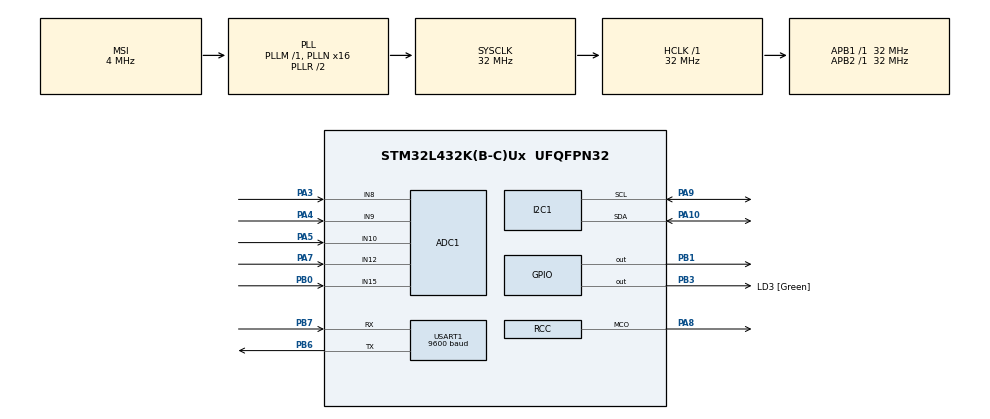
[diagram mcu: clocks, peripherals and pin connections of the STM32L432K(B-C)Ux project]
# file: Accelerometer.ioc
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ADC1.Channel-0\#ChannelRegularConversion=ADC_CHANNEL_12
ADC1.Channel-5\#ChannelRegularConversion=ADC_CHANNEL_15
ADC1.Channel-6\#ChannelRegularConversion=ADC_CHANNEL_10
ADC1.Channel-7\#ChannelRegularConversion=ADC_CHANNEL_9
ADC1.Channel-8\#ChannelRegularConversion=ADC_CHANNEL_8
ADC1.ClockPrescaler=ADC_CLOCK_ASYNC_DIV32
ADC1.ContinuousConvMode=DISABLE
ADC1.DMAContinuousRequests=ENABLE
ADC1.NbrOfConversion=5
ADC1.NbrOfConversionFlag=1
ADC1.OffsetNumber-0\#ChannelRegularConversion=ADC_OFFSET_NONE
ADC1.OffsetNumber-5\#ChannelRegularConversion=ADC_OFFSET_NONE
ADC1.OffsetNumber-6\#ChannelRegularConversion=ADC_OFFSET_NONE
ADC1.OffsetNumber-7\#ChannelRegularConversion=ADC_OFFSET_NONE
ADC1.OffsetNumber-8\#ChannelRegularConversion=ADC_OFFSET_NONE
ADC1.Rank-0\#ChannelRegularConversion=1
ADC1.Rank-5\#ChannelRegularConversion=2
ADC1.Rank-6\#ChannelRegularConversion=3
ADC1.Rank-7\#ChannelRegularConversion=4
ADC1.Rank-8\#ChannelRegularConversion=5
ADC1.SamplingTime-0\#ChannelRegularConversion=ADC_SAMPLETIME_2CYCLES_5
ADC1.SamplingTime-5\#ChannelRegularConversion=ADC_SAMPLETIME_2CYCLES_5
ADC1.SamplingTime-6\#ChannelRegularConversion=ADC_SAMPLETIME_2CYCLES_5
ADC1.SamplingTime-7\#ChannelRegularConversion=ADC_SAMPLETIME_2CYCLES_5
ADC1.SamplingTime-8\#ChannelRegularConversion=ADC_SAMPLETIME_2CYCLES_5
ADC1.master=1
Dma.ADC1.0.Direction=DMA_PERIPH_TO_MEMORY
Dma.ADC1.0.Instance=DMA1_Channel1
Dma.ADC1.0.MemDataAlignment=DMA_MDATAALIGN_WORD
Dma.ADC1.0.MemInc=DMA_MINC_ENABLE
Dma.ADC1.0.Mode=DMA_CIRCULAR
Dma.ADC1.0.PeriphDataAlignment=DMA_PDATAALIGN_HALFWORD
Dma.ADC1.0.PeriphInc=DMA_PINC_DISABLE
Dma.ADC1.0.Priority=DMA_PRIORITY_LOW
Dma.Request0=ADC1
I2C1.Timing=0x00707CBB
Mcu.Family=STM32L4
Mcu.Name=STM32L432K(B-C)Ux
Mcu.Package=UFQFPN32
NVIC.DMA1_Channel1_IRQn=true\:0\:0\:false\:false\:true\:false\:true\:true
NVIC.PriorityGroup=NVIC_PRIORITYGROUP_4
NVIC.USART1_IRQn=true\:0\:0\:false\:false\:true\:true\:true\:true
PA0.Signal=OPAMP1_VINP
PA10.Mode=I2C
PA10.Signal=I2C1_SDA
PA13\ (JTMS-SWDIO).GPIO_Label=SWDIO
PA13\ (JTMS-SWDIO).Signal=SYS_JTMS-SWDIO
PA14\ (JTCK-SWCLK).GPIO_Label=SWCLK
PA14\ (JTCK-SWCLK).Signal=SYS_JTCK-SWCLK
PA15\ (JTDI).GPIO_Label=VCP_RX
PA15\ (JTDI).Signal=USART2_RX
PA2.GPIO_Label=VCP_TX
PA2.Signal=USART2_TX
PA3.Signal=ADCx_IN8
PA4.Signal=ADCx_IN9
PA5.Signal=ADCx_IN10
PA7.Signal=ADCx_IN12
PA8.Mode=Clock-out
PA8.Signal=RCC_MCO
PA9.Mode=I2C
PA9.Signal=I2C1_SCL
PB0.Signal=ADCx_IN15
PB1.Signal=GPIO_Output
PB3\ (JTDO-TRACESWO).GPIO_Label=LD3 [Green]
PB3\ (JTDO-TRACESWO).Signal=GPIO_Output
PB6.Mode=Asynchronous
PB6.Signal=USART1_TX
PB7.Mode=Asynchronous
PB7.Signal=USART1_RX
PC14-OSC32_IN\ (PC14).Signal=RCC_OSC32_IN
PC15-OSC32_OUT\ (PC15).Signal=RCC_OSC32_OUT
ProjectManager.HeapSize=0x200
ProjectManager.StackSize=0x400
ProjectManager.TargetToolchain=STM32CubeIDE
RCC.ADCFreq_Value=32000000
RCC.AHBFreq_Value=32000000
RCC.APB1Freq_Value=32000000
RCC.APB1TimFreq_Value=32000000
RCC.APB2Freq_Value=32000000
RCC.APB2TimFreq_Value=32000000
RCC.CortexFreq_Value=32000000
RCC.HCLKFreq_Value=32000000
RCC.HSE_VALUE=8000000
RCC.HSI16_VALUE=16000000
RCC.HSI48_VALUE=48000000
RCC.HSI_VALUE=16000000
RCC.LSE_VALUE=32768
RCC.MSI_VALUE=4000000
RCC.PLLMUL=RCC_PLLMUL_4
RCC.PLLN=16
RCC.PLLSAI1N=16
RCC.SYSCLKFreq_VALUE=32000000
RCC.SYSCLKSource=RCC_SYSCLKSOURCE_PLLCLK
RCC.USBFreq_Value=32000000
RCC.VCOOutputFreq_Value=64000000
SH.ADCx_IN10.0=ADC1_IN10,IN10-Single-Ended
SH.ADCx_IN12.0=ADC1_IN12,IN12-Single-Ended
SH.ADCx_IN15.0=ADC1_IN15,IN15-Single-Ended
SH.ADCx_IN8.0=ADC1_IN8,IN8-Single-Ended
SH.ADCx_IN9.0=ADC1_IN9,IN9-Single-Ended
USART1.BaudRate=9600
USART1.VirtualMode-Asynchronous=VM_ASYNC
board=NUCLEO-L432KC

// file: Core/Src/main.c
/* USER CODE BEGIN Header */
/**
  ******************************************************************************
  * @file           : main.c
  * @brief          : Main program body
  ******************************************************************************
  * @attention
  *
  * Copyright (c) 2022 STMicroelectronics.
  * All rights reserved.
  *
  * This software is licensed under terms that can be found in the LICENSE file
  * in the root directory of this software component.
  * If no LICENSE file comes with this software, it is provided AS-IS.
  *
  ******************************************************************************
  */
/* USER CODE END Header */
#include "main.h"

/* USER CODE BEGIN Includes */
#include <string.h>
#include <stdio.h>
#include <math.h>
/* USER CODE END Includes */

/* USER CODE BEGIN PD */
	#define ACC_W_M 0x32
	#define ACC_R_M 0x33
/* USER CODE END PD */

ADC_HandleTypeDef hadc1;
DMA_HandleTypeDef hdma_adc1;

I2C_HandleTypeDef hi2c1;

UART_HandleTypeDef huart1;

void SystemClock_Config(void);
static void MX_GPIO_Init(void);
static void MX_DMA_Init(void);
static void MX_I2C1_Init(void);
static void MX_ADC1_Init(void);
static void MX_USART1_UART_Init(void);

int main(void)
{
  /* USER CODE BEGIN 1 */
	HAL_StatusTypeDef ret;
  /* USER CODE END 1 */

  /* MCU Configuration--------------------------------------------------------*/

  /* Reset of all peripherals, Initializes the Flash interface and the Systick. */
  HAL_Init();

  /* Configure the system clock */
  SystemClock_Config();

  /* Initialize all configured peripherals */
  MX_GPIO_Init();
  MX_DMA_Init();
  MX_I2C1_Init();
  MX_ADC1_Init();
  MX_USART1_UART_Init();
  /* USER CODE BEGIN 2 */
  uint8_t total = 0;
  int16_t Zvalarr[] = {16000, 16000, 16000, 16000};
  uint32_t arraycount = 0;
  /* USER CODE END 2 */

  /* Infinite loop */
  /* USER CODE BEGIN WHILE */
  while (1)
  {
	  //CTRL REG 1
	  	  uint8_t ctrl_buf_1[2] = {0x20, 0b10010111};//CTRL REG 1 addr and data
	  	  ret = HAL_I2C_Master_Transmit(&hi2c1, ACC_W_M, ctrl_buf_1 , 2, 1000);
	  	  if ( ret != HAL_OK ) {
	  			strcpy((char*)ctrl_buf_1, "Error Tx\r\n");
	  		 }

	  	  //Write default values to 2 - 6 to be safe
	  	  uint8_t ctrl_buf_2[2] = {0x21, 0b00000000};//CTRL REG 2 addr and data
	  	  ret = HAL_I2C_Master_Transmit(&hi2c1, ACC_W_M, ctrl_buf_2, 2, 1000);
	  	  if ( ret != HAL_OK ) {
	  			strcpy((char*)ctrl_buf_2, "Error Tx\r\n");
	  		 }

	  	  uint8_t ctrl_buf_3[2] = {0x22, 0b00000000};//CTRL REG 3 addr and data
	  	  ret = HAL_I2C_Master_Transmit(&hi2c1, ACC_W_M, ctrl_buf_3, 2, 1000);
	  	  if ( ret != HAL_OK ) {
	  			strcpy((char*)ctrl_buf_3, "Error Tx\r\n");
	  		 }

	  	  uint8_t ctrl_buf_4[2] = {0x23, 0b00000000};//CTRL REG 4 addr and data
	  	  ret = HAL_I2C_Master_Transmit(&hi2c1, ACC_W_M, ctrl_buf_4, 2, 1000);
	  	  if ( ret != HAL_OK ) {
	  			strcpy((char*)ctrl_buf_4, "Error Tx\r\n");
	  		 }

	  	  uint8_t ctrl_buf_5[2] = {0x24, 0b00000000};//CTRL REG 5 addr and data
	  	  ret = HAL_I2C_Master_Transmit(&hi2c1, ACC_W_M, ctrl_buf_5, 2, 1000);
	  	  if ( ret != HAL_OK ) {
	  			strcpy((char*)ctrl_buf_5, "Error Tx\r\n");
	  		 }

	  	  uint8_t ctrl_buf_6[2] = {0x25, 0b00000000};//CTRL REG 6 addr and data
	  	  ret = HAL_I2C_Master_Transmit(&hi2c1, ACC_W_M, ctrl_buf_6, 2, 1000);
	  	  if ( ret != HAL_OK ) {
	  			strcpy((char*)ctrl_buf_6, "Error Tx\r\n");
	  		 }

	  	  //Read Data
	  	  int16_t Xval;
	  	  int16_t Yval;
	  	  int16_t Zval;

	  	  //Check slide 12 and internal register address is prob the buf values
	  	  uint8_t buf[6] = {0xA8};// [Zhigh, Zlow, YHigh, Ylow, Xhigh, Xlow]
	  	  ret = HAL_I2C_Master_Transmit(&hi2c1, ACC_W_M, buf, 6, 1000);
	  	  if ( ret != HAL_OK ) {
	  			strcpy((char*)buf, "Error Tx\r\n");
	  		 }
	  	  else {
	  			 ret =  HAL_I2C_Master_Receive(&hi2c1, ACC_R_M, buf, 6, 1000); // [Zhigh, Zlow, YHigh, Ylow, Xhigh, Xlow]
	  		 }
	  	  Zval = ((buf[0]<<8) + buf[1]);
	  	  Zvalarr[arraycount%4] = Zval;
	  	  arraycount++;
	  	  int Zavg = 0;
	  	  for(int i = 0; i < 4; i++)
	  	  {
	  		  Zavg += Zvalarr[i];
	  	  }
	  	  Zavg = Zavg/4;

	  	  Yval = ((buf[2]<<8) + buf[3]);
	  	  Xval = ((buf[4]<<8) + buf[5]);

	  	  double ZGs = Zval/20224.00;
	  	  double YGs = Yval/20224.00;
	  	  double XGs = Xval/20224.00;

	  //Flex Sensor Convert
	  uint32_t ADC_VAL[5];
	  HAL_ADC_Start_DMA(&hadc1, ADC_VAL, 5);
//	uint8_t ch = ADC_VAL[0];
	//HAL_UART_Receive(&huart1, (uint8_t *)&ch, 1, 0xFFFF);
//	  HAL_ADC_Start(&hadc1);//start conversion
//	  HAL_ADC_PollForConversion(&hadc1, 0xFFFFFFFF);//wait for conversion to finish
//	  uint32_t ADC_VAL0 = ADC_VAL[0];//retrieve value
//	  uint32_t ADC_VAL2 = ADC_VAL[1];
//	  uint32_t ADC_VAL4 = ADC_VAL[2];
//	  uint32_t ADC_VAL6 = ADC_VAL[3];
//	  uint32_t ADC_VAL8 = ADC_VAL[4];

	  	  int pinky;
	  	  int ring;
	  	  int middle;
	  	  int index;
	  	  int thumb;

	  	  if(ADC_VAL[0] > 700){
	  		  pinky = 1;
	  	  }
	  	  else{
	  		  pinky = 0;
	  	  }
	  	if(ADC_VAL[1] > 700){
	  		  ring = 1;
	  	}
	  	else{
	  		  ring = 0;
	  	}
	  	if(ADC_VAL[2] > 700){
	  		  middle = 1;
	  	}
	  	else{
	  		  middle = 0;
	  	}
	  	if(ADC_VAL[3] > 700){
	  		  index = 1;
	  	}
	  	else{
	  		  index = 0;
	  	}
	  	if(ADC_VAL[4] > 700){
	  		  thumb = 5;
	  	}
	  	else{
	  		  thumb = 0;
	  	}

	  	int digit = ring + pinky + middle + index + thumb;

	  	if(Zavg < 0){
	  		HAL_GPIO_WritePin(GPIOB, GPIO_PIN_1, 1);
	  		total = total*10;
	  		total += digit;
	  		uint8_t* val = &total;
		  	HAL_UART_Transmit(&huart1, val, 1, 0xFFFF);
		  	HAL_Delay(250);
	  		while (Zavg < 0)
	  		{
	  			uint8_t buf[6] = {0xA8};// [Zhigh, Zlow, YHigh, Ylow, Xhigh, Xlow]
				ret = HAL_I2C_Master_Transmit(&hi2c1, ACC_W_M, buf, 6, 1000);
				  if ( ret != HAL_OK ) {
						strcpy((char*)buf, "Error Tx\r\n");
					 }
				  else {
						 ret =  HAL_I2C_Master_Receive(&hi2c1, ACC_R_M, buf, 6, 1000); // [Zhigh, Zlow, YHigh, Ylow, Xhigh, Xlow]
					 }
				  Zval = ((buf[0]<<8) + buf[1]);
				  Zvalarr[arraycount%4] = Zval;
				  arraycount++;
				  Zavg = 0;
				  for(int i = 0; i < 4; i++)
				  {
				  	Zavg += Zvalarr[i];
				  }
				  Zavg = Zavg/4;
	  			//Only loop again once Zavgh is greater than 0
	  		}

	  	}
	  	HAL_GPIO_WritePin(GPIOB, GPIO_PIN_1, 0);\
	  	HAL_Delay(250);
    /* USER CODE END WHILE */

  }
}

void SystemClock_Config(void)
{
  RCC_OscInitTypeDef RCC_OscInitStruct = {0};
  RCC_ClkInitTypeDef RCC_ClkInitStruct = {0};

  /** Configure the main internal regulator output voltage
  */
  if (HAL_PWREx_ControlVoltageScaling(PWR_REGULATOR_VOLTAGE_SCALE1) != HAL_OK)
  {
    Error_Handler();
  }

  /** Initializes the RCC Oscillators according to the specified parameters
  * in the RCC_OscInitTypeDef structure.
  */
  RCC_OscInitStruct.OscillatorType = RCC_OSCILLATORTYPE_MSI;
  RCC_OscInitStruct.MSIState = RCC_MSI_ON;
  RCC_OscInitStruct.MSICalibrationValue = 0;
  RCC_OscInitStruct.MSIClockRange = RCC_MSIRANGE_6;
  RCC_OscInitStruct.PLL.PLLState = RCC_PLL_ON;
  RCC_OscInitStruct.PLL.PLLSource = RCC_PLLSOURCE_MSI;
  RCC_OscInitStruct.PLL.PLLM = 1;
  RCC_OscInitStruct.PLL.PLLN = 16;
  RCC_OscInitStruct.PLL.PLLP = RCC_PLLP_DIV7;
  RCC_OscInitStruct.PLL.PLLQ = RCC_PLLQ_DIV2;
  RCC_OscInitStruct.PLL.PLLR = RCC_PLLR_DIV2;
  if (HAL_RCC_OscConfig(&RCC_OscInitStruct) != HAL_OK)
  {
    Error_Handler();
  }

  /** Initializes the CPU, AHB and APB buses clocks
  */
  RCC_ClkInitStruct.ClockType = RCC_CLOCKTYPE_HCLK|RCC_CLOCKTYPE_SYSCLK
                              |RCC_CLOCKTYPE_PCLK1|RCC_CLOCKTYPE_PCLK2;
  RCC_ClkInitStruct.SYSCLKSource = RCC_SYSCLKSOURCE_PLLCLK;
  RCC_ClkInitStruct.AHBCLKDivider = RCC_SYSCLK_DIV1;
  RCC_ClkInitStruct.APB1CLKDivider = RCC_HCLK_DIV1;
  RCC_ClkInitStruct.APB2CLKDivider = RCC_HCLK_DIV1;

  if (HAL_RCC_ClockConfig(&RCC_ClkInitStruct, FLASH_LATENCY_1) != HAL_OK)
  {
    Error_Handler();
  }
  HAL_RCC_MCOConfig(RCC_MCO1, RCC_MCO1SOURCE_SYSCLK, RCC_MCODIV_1);
}

static void MX_ADC1_Init(void)
{

  ADC_ChannelConfTypeDef sConfig = {0};

  /** Common config
  */
  hadc1.Instance = ADC1;
  hadc1.Init.ClockPrescaler = ADC_CLOCK_ASYNC_DIV32;
  hadc1.Init.Resolution = ADC_RESOLUTION_12B;
  hadc1.Init.DataAlign = ADC_DATAALIGN_RIGHT;
  hadc1.Init.ScanConvMode = ADC_SCAN_ENABLE;
  hadc1.Init.EOCSelection = ADC_EOC_SINGLE_CONV;
  hadc1.Init.LowPowerAutoWait = DISABLE;
  hadc1.Init.ContinuousConvMode = DISABLE;
  hadc1.Init.NbrOfConversion = 5;
  hadc1.Init.DiscontinuousConvMode = DISABLE;
  hadc1.Init.ExternalTrigConv = ADC_SOFTWARE_START;
  hadc1.Init.ExternalTrigConvEdge = ADC_EXTERNALTRIGCONVEDGE_NONE;
  hadc1.Init.DMAContinuousRequests = ENABLE;
  hadc1.Init.Overrun = ADC_OVR_DATA_PRESERVED;
  hadc1.Init.OversamplingMode = DISABLE;
  if (HAL_ADC_Init(&hadc1) != HAL_OK)
  {
    Error_Handler();
  }

  /** Configure Regular Channel
  */
  sConfig.Channel = ADC_CHANNEL_12;
  sConfig.Rank = ADC_REGULAR_RANK_1;
  sConfig.SamplingTime = ADC_SAMPLETIME_2CYCLES_5;
  sConfig.SingleDiff = ADC_SINGLE_ENDED;
  sConfig.OffsetNumber = ADC_OFFSET_NONE;
  sConfig.Offset = 0;
  if (HAL_ADC_ConfigChannel(&hadc1, &sConfig) != HAL_OK)
  {
    Error_Handler();
  }

  /** Configure Regular Channel
  */
  sConfig.Channel = ADC_CHANNEL_15;
  sConfig.Rank = ADC_REGULAR_RANK_2;
  if (HAL_ADC_ConfigChannel(&hadc1, &sConfig) != HAL_OK)
  {
    Error_Handler();
  }

  /** Configure Regular Channel
  */
  sConfig.Channel = ADC_CHANNEL_10;
  sConfig.Rank = ADC_REGULAR_RANK_3;
  if (HAL_ADC_ConfigChannel(&hadc1, &sConfig) != HAL_OK)
  {
    Error_Handler();
  }

  /** Configure Regular Channel
  */
  sConfig.Channel = ADC_CHANNEL_9;
  sConfig.Rank = ADC_REGULAR_RANK_4;
  if (HAL_ADC_ConfigChannel(&hadc1, &sConfig) != HAL_OK)
  {
    Error_Handler();
  }

  /** Configure Regular Channel
  */
  sConfig.Channel = ADC_CHANNEL_8;
  sConfig.Rank = ADC_REGULAR_RANK_5;
  if (HAL_ADC_ConfigChannel(&hadc1, &sConfig) != HAL_OK)
  {
    Error_Handler();
  }

}

static void MX_I2C1_Init(void)
{

  hi2c1.Instance = I2C1;
  hi2c1.Init.Timing = 0x00707CBB;
  hi2c1.Init.OwnAddress1 = 0;
  hi2c1.Init.AddressingMode = I2C_ADDRESSINGMODE_7BIT;
  hi2c1.Init.DualAddressMode = I2C_DUALADDRESS_DISABLE;
  hi2c1.Init.OwnAddress2 = 0;
  hi2c1.Init.OwnAddress2Masks = I2C_OA2_NOMASK;
  hi2c1.Init.GeneralCallMode = I2C_GENERALCALL_DISABLE;
  hi2c1.Init.NoStretchMode = I2C_NOSTRETCH_DISABLE;
  if (HAL_I2C_Init(&hi2c1) != HAL_OK)
  {
    Error_Handler();
  }

  /** Configure Analogue filter
  */
  if (HAL_I2CEx_ConfigAnalogFilter(&hi2c1, I2C_ANALOGFILTER_ENABLE) != HAL_OK)
  {
    Error_Handler();
  }

  /** Configure Digital filter
  */
  if (HAL_I2CEx_ConfigDigitalFilter(&hi2c1, 0) != HAL_OK)
  {
    Error_Handler();
  }

}

static void MX_USART1_UART_Init(void)
{

  huart1.Instance = USART1;
  huart1.Init.BaudRate = 9600;
  huart1.Init.WordLength = UART_WORDLENGTH_8B;
  huart1.Init.StopBits = UART_STOPBITS_1;
  huart1.Init.Parity = UART_PARITY_NONE;
  huart1.Init.Mode = UART_MODE_TX_RX;
  huart1.Init.HwFlowCtl = UART_HWCONTROL_NONE;
  huart1.Init.OverSampling = UART_OVERSAMPLING_16;
  huart1.Init.OneBitSampling = UART_ONE_BIT_SAMPLE_DISABLE;
  huart1.AdvancedInit.AdvFeatureInit = UART_ADVFEATURE_NO_INIT;
  if (HAL_UART_Init(&huart1) != HAL_OK)
  {
    Error_Handler();
  }

}

static void MX_DMA_Init(void)
{

  /* DMA controller clock enable */
  __HAL_RCC_DMA1_CLK_ENABLE();

  /* DMA interrupt init */
  /* DMA1_Channel1_IRQn interrupt configuration */
  HAL_NVIC_SetPriority(DMA1_Channel1_IRQn, 0, 0);
  HAL_NVIC_EnableIRQ(DMA1_Channel1_IRQn);

}

static void MX_GPIO_Init(void)
{
  GPIO_InitTypeDef GPIO_InitStruct = {0};

  /* GPIO Ports Clock Enable */
  __HAL_RCC_GPIOC_CLK_ENABLE();
  __HAL_RCC_GPIOA_CLK_ENABLE();
  __HAL_RCC_GPIOB_CLK_ENABLE();

  /*Configure GPIO pin Output Level */
  HAL_GPIO_WritePin(GPIOB, GPIO_PIN_1|LD3_Pin, GPIO_PIN_RESET);

  /*Configure GPIO pin : PA0 */
  GPIO_InitStruct.Pin = GPIO_PIN_0;
  GPIO_InitStruct.Mode = GPIO_MODE_ANALOG;
  GPIO_InitStruct.Pull = GPIO_NOPULL;
  HAL_GPIO_Init(GPIOA, &GPIO_InitStruct);

  /*Configure GPIO pin : VCP_TX_Pin */
  GPIO_InitStruct.Pin = VCP_TX_Pin;
  GPIO_InitStruct.Mode = GPIO_MODE_AF_PP;
  GPIO_InitStruct.Pull = GPIO_NOPULL;
  GPIO_InitStruct.Speed = GPIO_SPEED_FREQ_VERY_HIGH;
  GPIO_InitStruct.Alternate = GPIO_AF7_USART2;
  HAL_GPIO_Init(VCP_TX_GPIO_Port, &GPIO_InitStruct);

  /*Configure GPIO pins : PB1 LD3_Pin */
  GPIO_InitStruct.Pin = GPIO_PIN_1|LD3_Pin;
  GPIO_InitStruct.Mode = GPIO_MODE_OUTPUT_PP;
  GPIO_InitStruct.Pull = GPIO_NOPULL;
  GPIO_InitStruct.Speed = GPIO_SPEED_FREQ_LOW;
  HAL_GPIO_Init(GPIOB, &GPIO_InitStruct);

  /*Configure GPIO pin : PA8 */
  GPIO_InitStruct.Pin = GPIO_PIN_8;
  GPIO_InitStruct.Mode = GPIO_MODE_AF_PP;
  GPIO_InitStruct.Pull = GPIO_NOPULL;
  GPIO_InitStruct.Speed = GPIO_SPEED_FREQ_LOW;
  GPIO_InitStruct.Alternate = GPIO_AF0_MCO;
  HAL_GPIO_Init(GPIOA, &GPIO_InitStruct);

  /*Configure GPIO pin : VCP_RX_Pin */
  GPIO_InitStruct.Pin = VCP_RX_Pin;
  GPIO_InitStruct.Mode = GPIO_MODE_AF_PP;
  GPIO_InitStruct.Pull = GPIO_NOPULL;
  GPIO_InitStruct.Speed = GPIO_SPEED_FREQ_VERY_HIGH;
  GPIO_InitStruct.Alternate = GPIO_AF3_USART2;
  HAL_GPIO_Init(VCP_RX_GPIO_Port, &GPIO_InitStruct);

}

void Error_Handler(void)
{
  __disable_irq();
  while (1)
  {
  }
}
